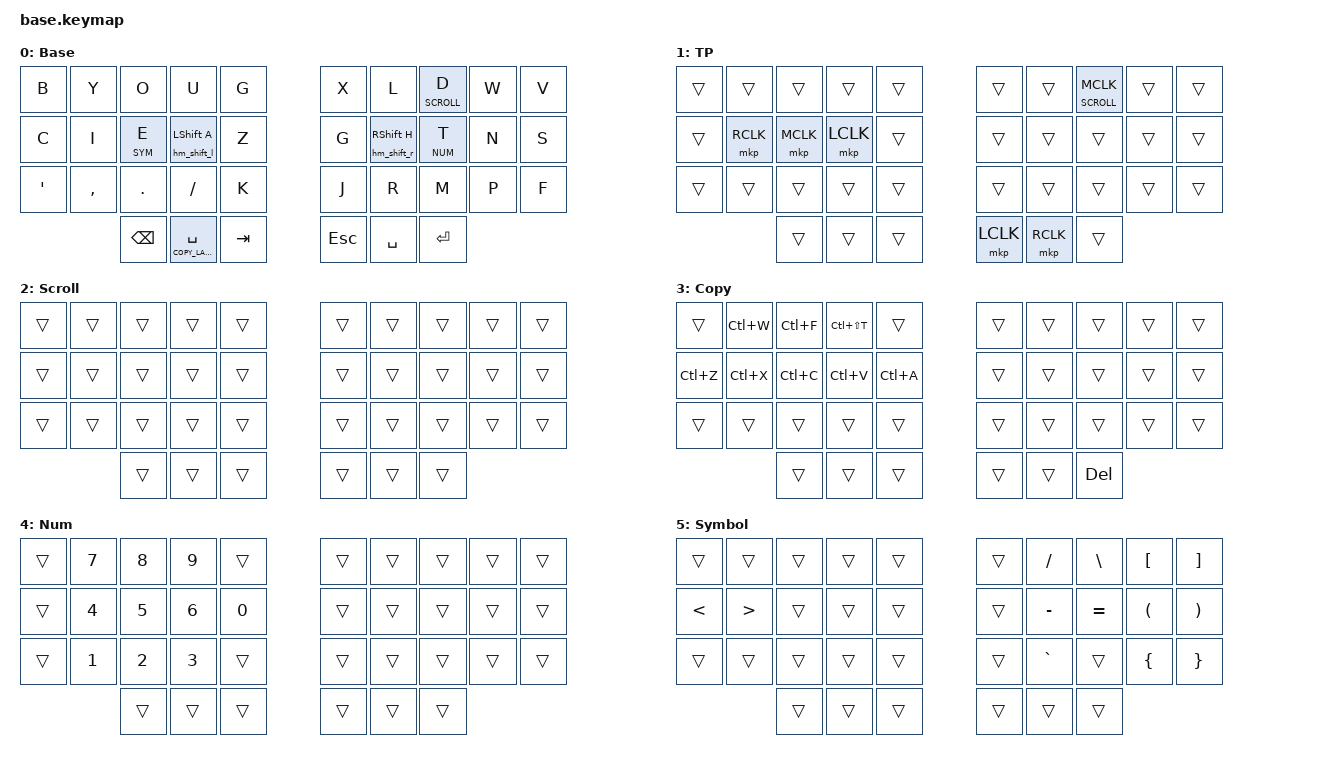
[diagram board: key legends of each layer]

/*
 * Copyright (c) 2020 The ZMK Contributors
 *
 * SPDX-License-Identifier: MIT
 */

// Define layer numbers
#define BASE 0
#define MOUSE_TP 1
#define SCROLL 2
#define COPY_LAYER 3
#define NUM 4
#define SYM 5

// ZMK includes
#include <behaviors.dtsi>
#include <dt-bindings/zmk/keys.h>
#include <dt-bindings/zmk/bt.h>
#include <dt-bindings/zmk/rgb.h>
#include <dt-bindings/zmk/ext_power.h>


// Personal includes
#include "includes/behaviours_homerow_mods.dtsi"
#include "includes/combos.dtsi"
#include "includes/mouse_tp.dtsi"
#include "includes/mouse_tp_badjeff_input_listener.dtsi"


#ifdef HAS_MOUSE_TP
  #define U_TOG_TP_SET &tog MOUSE_TP_SET
#else
  #define U_TOG_TP_SET &none
#endif  // HAS_MOUSE_TP

/ {

  keymap {
    compatible = "zmk,keymap";

    Base_layer {
      display-name = "Base";
      bindings = <
     &kp B                    &kp Y                    &kp O         &kp U                    &kp G                         &kp X                    &kp L                    &hm_rl SCROLL D   &kp W             &kp V
     &kp C                    &kp I                    &hm_ll SYM E  &hm_shift_l LSHFT A      &kp Z                         &kp G                    &hm_shift_r RSHFT H      &hm_rl NUM T      &kp N             &kp S
     &kp SINGLE_QUOTE         &kp COMMA                &kp PERIOD    &kp SLASH                &kp K                         &kp J                    &kp R                    &kp M             &kp P             &kp F
                                                       &kp BACKSPACE &hm_ll COPY_LAYER SPACE  &kp TAB                       &kp ESC                  &kp SPACE                &kp ENTER

      >;
    };

    MouseTP_layer {
      display-name = "TP";
      bindings = <
     &trans                   &trans                   &trans                   &trans                   &trans                        &trans                   &trans                   &hm_rmkp SCROLL MCLK      &trans                   &trans
     &trans                   &mkp RCLK                &mkp MCLK                &mkp LCLK                &trans                        &trans                   &trans                   &trans                    &trans                   &trans
     &trans                   &trans                   &trans                   &trans                   &trans                        &trans                   &trans                   &trans                    &trans                   &trans
                                                       &trans                   &trans                   &trans                        &mkp LCLK                &mkp RCLK                &trans
      >;
    };

  ScrollTP_layer {
      display-name = "Scroll";
      bindings = <
     &trans                   &trans                   &trans                   &trans                   &trans                        &trans                   &trans                   &trans                    &trans                   &trans
     &trans                   &trans                   &trans                   &trans                   &trans                        &trans                   &trans                   &trans                    &trans                   &trans
     &trans                   &trans                   &trans                   &trans                   &trans                        &trans                   &trans                   &trans                    &trans                   &trans
                                                       &trans                   &trans                   &trans                        &trans                   &trans                   &trans
      >;
    };

  Copy_layer {
      display-name = "Copy";
      bindings = <
     &trans                   &kp LC(W)                &kp LC(F)                &kp LC(LS(T))            &trans                        &trans                   &trans                   &trans                    &trans                   &trans
     &kp LC(Z)                &kp LC(X)                &kp LC(C)                &kp LC(V)                &kp LC(A)                     &trans                   &trans                   &trans                    &trans                   &trans
     &trans                   &trans                   &trans                   &trans                   &trans                        &trans                   &trans                   &trans                    &trans                   &trans
                                                       &trans                   &trans                   &trans                        &trans                   &trans                   &kp DEL
      >;
    };

  Num_layer {
      display-name = "Num";
      bindings = <
     &trans                   &kp NUMBER_7             &kp NUMBER_8             &kp NUMBER_9             &trans                        &trans                   &trans                   &trans                    &trans                   &trans
     &trans                   &kp NUMBER_4             &kp NUMBER_5             &kp NUMBER_6             &kp NUMBER_0                  &trans                   &trans                   &trans                    &trans                   &trans
     &trans                   &kp NUMBER_1             &kp NUMBER_2             &kp NUMBER_3             &trans                        &trans                   &trans                   &trans                    &trans                   &trans
                                                       &trans                   &trans                   &trans                        &trans                   &trans                   &trans
      >;
    };

  Sym_layer {
      display-name = "Symbol";
      bindings = <
     &trans                   &trans                   &trans                   &trans                   &trans                        &trans                   &kp SLASH                &kp BACKSLASH             &kp LEFT_BRACKET         &kp RIGHT_BRACKET
     &kp LT                   &kp GT                   &trans                   &trans                   &trans                        &trans                   &kp MINUS                &kp EQUAL                 &kp LEFT_PARENTHESIS     &kp RIGHT_PARENTHESIS
     &trans                   &trans                   &trans                   &trans                   &trans                        &trans                   &kp GRAVE                &trans                    &kp LEFT_BRACE           &kp RIGHT_BRACE
                                                       &trans                   &trans                   &trans                        &trans                   &trans                   &trans
      >;
    };

  };
};
